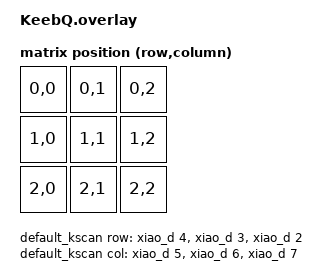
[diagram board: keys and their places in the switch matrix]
#include <dt-bindings/zmk/matrix_transform.h>
#include "keebq-layouts.dtsi"

/ { 
    chosen {
        zmk,kscan = &default_kscan;
        zmk,physical-layout = &default_layout;
    };

    default_kscan: kscan {
        compatible = "zmk,kscan-gpio-matrix";
        wakeup-source;
        label = "default_kscan";
        diode-direction = "col2row";
    
        col-gpios = <&xiao_d 5 GPIO_ACTIVE_HIGH>,
                    <&xiao_d 6 GPIO_ACTIVE_HIGH>,
                    <&xiao_d 7 GPIO_ACTIVE_HIGH>;
              
        row-gpios = <&xiao_d 4 (GPIO_ACTIVE_HIGH | GPIO_PULL_DOWN)>,
                    <&xiao_d 3 (GPIO_ACTIVE_HIGH | GPIO_PULL_DOWN)>,
                    <&xiao_d 2 (GPIO_ACTIVE_HIGH | GPIO_PULL_DOWN)>;
              
    };

    default_transform: matrix_transform {
          compatible = "zmk,matrix-transform";
          columns = <3>;
          rows = <3>;
          map = <
              RC(0,0) RC(0,1) RC(0,2)
              RC(1,0) RC(1,1) RC(1,2)
              RC(2,0) RC(2,1) RC(2,2)
          >;
      };

};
